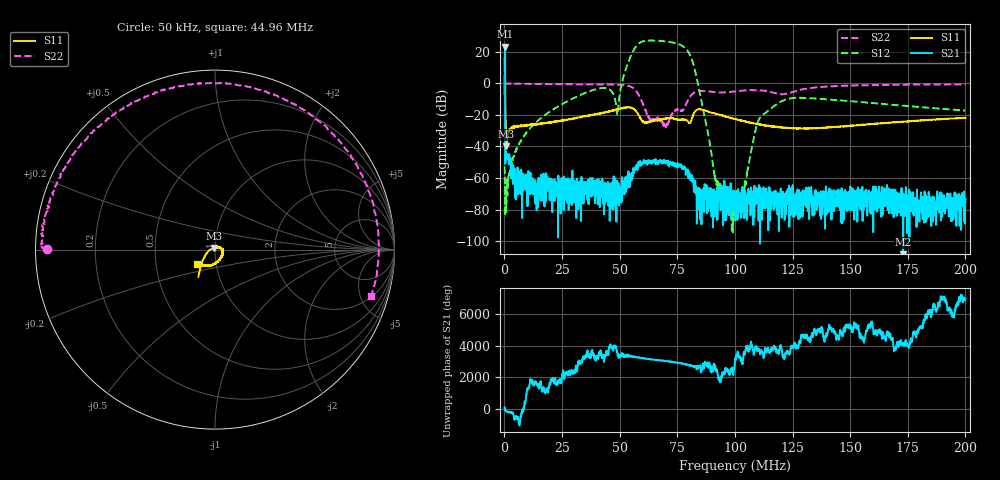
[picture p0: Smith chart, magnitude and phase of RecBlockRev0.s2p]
! 19-Feb-26 1:56:25 PM
! E:\VNA_MEASUREMENTS\RECBLOCK\RECBLOCKREV0.S2P
! CHANNEL.1
! TR.MEASUREMENT
! CORRECTED.DATA
# GHZ S RI R 50.0
! FREQ.GHZ  S11RE  S11IM  S21RE  S21IM  S12RE  S12IM  S22RE  S22IM
!; PortSelection: Port_12
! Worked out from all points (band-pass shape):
!   2000 points, 50 kHz to 200 MHz, reference 50 ohm
!   highest |S21| = 23.01 dB at 250 kHz (marker M1); lowest = -108.8 dB at 173 MHz (marker M2)
!   |S21| within 3 dB of the highest: 231.2 kHz to 254.1 kHz (22.9 kHz wide, 9.44 % of centre)
!   lowest |S11| = -39.9 dB at 850.2 kHz (marker M3), VSWR 1.02, Z = 49.4 + j0.838 ohm
!   |S11| at or under -10 dB: 322.6 kHz to end of sweep
!   |S22| runs from -28.4 to -0.2 dB; largest |S21 - S12| = 22
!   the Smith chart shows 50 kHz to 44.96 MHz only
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5e-05  -1.083 1.357  -2.352 5.658  0.000551 0.00226  -0.9364 0.0031
0.00025005  -1.44 0.1056  8.873 11  1.45e-05 -6.17e-05  -0.9679 0.0194
0.0008502  -0.00547 0.00847  -0.00301 -0.00456  -0.000215 0.000178  -0.9621 0.0539
0.03345835  -0.0143 -0.0837  -0.000773 0.000727  0.0696 0.4347  0.5509 0.7397
0.05366341  -0.168 0.049  -0.000343 0.000386  -1.38 4.288  -0.2435 -0.7884
0.05676418  -0.0836 0.1095  0.00146 0.00155  9.49 9.555  -0.5915 -0.1561
0.05926481  -0.0309 0.0681  0.00288 -0.000994  19.13 -5.353  -0.2279 0.1922
0.06116528  -0.0373 0.0423  0.00243 -0.00249  12.09 -18.01  -0.0126 0.1429
0.06276568  -0.0456 0.0377  0.00134 -0.0033  1.157 -22.05  0.0683 0.051
0.06676668  -0.054 0.04  -0.00276 -0.00153  -19.99 -8.682  0.0187 -0.0746
0.06926731  -0.0553 0.0474  -0.00294 0.000963  -19.79 7.153  0.00184 -0.0536
0.07206801  -0.0516 0.0583  -0.000956 0.00262  -5.978 18.82  0.0441 -0.0718
0.07406851  -0.0426 0.0593  0.000632 0.00285  7.354 16.78  0.026 -0.1367
0.07626906  -0.041 0.056  0.00197 0.00112  15.74 3.963  -0.0234 -0.1379
0.07876969  -0.035 0.0599  0.000952 -0.00141  6.022 -10.59  0.00933 -0.2131
0.08107026  -0.0568 0.0333  -0.000525 -0.000631  -5.196 -3.493  -0.2188 -0.3565
0.08307076  -0.0919 0.1017  -0.000399 -0.000295  -1.432 1.204  -0.5056 -0.1708
0.100075  0.0685 0.0275  -0.000207 2.89e-05  7.93e-05 0.000187  -0.1311 -0.5324
0.1333833  -0.0025 -0.037  -7.08e-05 0.000106  -0.0522 -0.3289  0.1788 0.6875
0.1666917  -0.0544 -0.0128  -0.000471 1.53e-05  -0.2037 0.0583  0.2527 -0.8475
0.1729932  -0.0605 -0.00273  -3.6e-06 3e-07  -0.1723 0.0893  0.0167 -0.8947
0.2  -0.0691 0.0407  -9.74e-05 0.0002  -0.0494 0.1259  -0.6964 -0.5907
